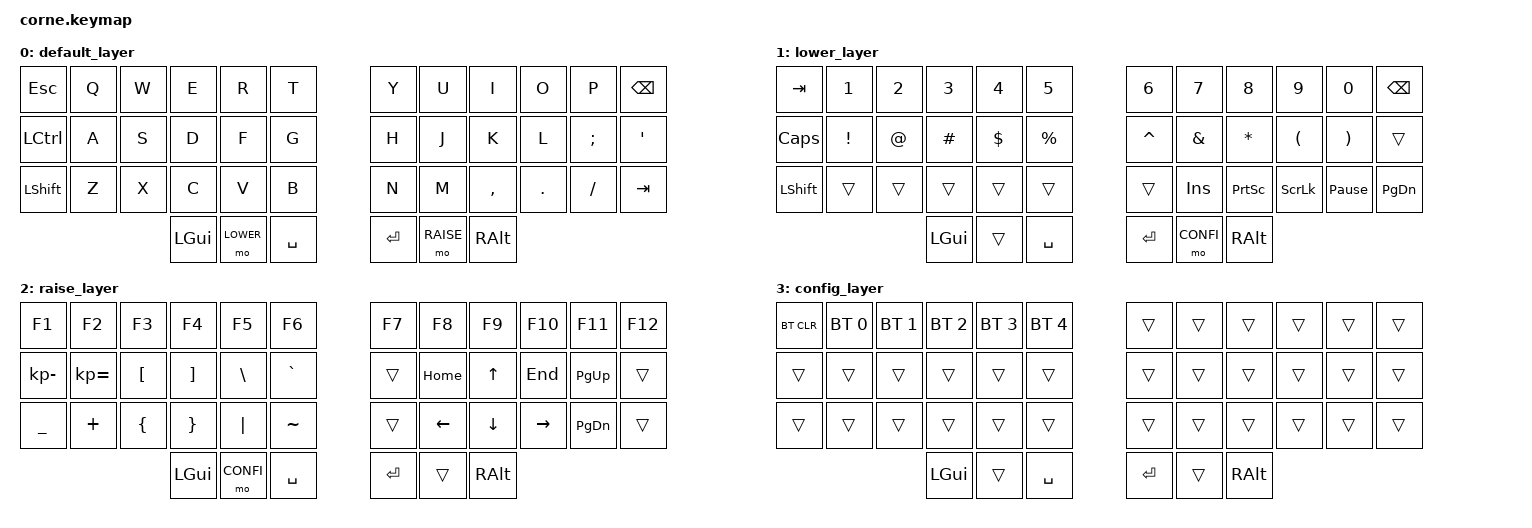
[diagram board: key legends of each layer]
/*
 * Copyright (c) 2020 The ZMK Contributors
 *
 * SPDX-License-Identifier: MIT
 */

#include <behaviors.dtsi>
#include <dt-bindings/zmk/keys.h>
#include <dt-bindings/zmk/bt.h>
#include <dt-bindings/zmk/rgb.h>

&led_strip {
  // chain-length = <0>;
  chain-length = <27>;
  // 21 backlight + 6 glowlight
};

/ {
    chosen {
        zmk,underglow = &led_strip;
    };
};


#define DEFAULT 0
#define LOWER 1
#define RAISE 2
#define CONFI 3

/ {
        keymap {
                compatible = "zmk,keymap";

                default_layer {
// -----------------------------------------------------------------------------------------
// |  ESC |  Q  |  W  |  E  |  R  |  T  |   |  Y  |  U   |  I  |  O  |  P  | BKSP |
// | CTRL |  A  |  S  |  D  |  F  |  G  |   |  H  |  J   |  K  |  L  |  ;  |  '   |
// | SHFT |  Z  |  X  |  C  |  V  |  B  |   |  N  |  M   |  ,  |  .  |  /  | TAB  |
//                    | GUI | LWR | SPC |   | ENT | RSE  | ALT |
                        bindings = <
   &kp ESC   &kp Q &kp W &kp E &kp R &kp T       &kp Y &kp U  &kp I     &kp O   &kp P    &kp BSPC
   &kp LCTRL &kp A &kp S &kp D &kp F &kp G       &kp H &kp J  &kp K     &kp L   &kp SEMI &kp SQT
   &kp LSHFT &kp Z &kp X &kp C &kp V &kp B       &kp N &kp M  &kp COMMA &kp DOT &kp FSLH &kp TAB
                  &kp LGUI &mo LOWER &kp SPACE   &kp RET &mo RAISE &kp RALT
                        >;
                };
                lower_layer {
// -----------------------------------------------------------------------------------------
// |  TAB |  1  |  2  |  3  |  4  |  5  |   |  6  |  7  |  8  |  9  |  0        | BKSP |
// | CAPS |EXCL | AT  | HASH|DLLR |PRCNT|   |CARET|AMPS |ASTRK|LPAR | RPAR      |      |
// | SHFT |     |     |     |     |     |   |     |INS  |PSCRN|SLCK |PAUSE_BREAK| PGDN |
//                    | GUI |     | SPC |   | ENT | CONF| ALT |
                        bindings = <
   &kp TAB    &kp N1       &kp N2       &kp N3       &kp N4       &kp N5         &kp N6    &kp N7    &kp N8    &kp N9    &kp N0          &kp BSPC
   &kp CAPS   &kp EXCL     &kp AT       &kp HASH     &kp DLLR     &kp PRCNT      &kp CARET &kp AMPS  &kp ASTRK &kp LPAR  &kp RPAR        &trans
   &kp LSHFT  &trans       &trans       &trans       &trans       &trans         &trans    &kp INS   &kp PSCRN &kp SLCK  &kp PAUSE_BREAK &kp PG_DN
                                        &kp LGUI     &trans       &kp SPACE      &kp RET   &mo CONFI &kp RALT
                        >;
                };

                raise_layer {
// -----------------------------------------------------------------------------------------
// |  F1 | F2  | F3  | F4  | F5  | F6   |   |  F7 | F8  | F9  | F10 | F11 | F12 |
// |  -  |  =  |  [  |  ]  |  \  |  `   |   |     | HOME| UP  | END |PGUP |     |
// |  _  |  +  |  {  |  }  | "|" |  ~   |   |     | LEFT|DOWN |RIGHT|PGDN |     |
//                    | GUI | CONF| SPC |   | ENT |     | ALT |
                        bindings = <
   &kp F1       &kp F2       &kp F3    &kp F4   &kp F5    &kp F6      &kp F7    &kp F8    &kp F9    &kp F10   &kp F11   &kp F12 
   &kp KP_MINUS &kp KP_EQUAL &kp LBKT  &kp RBKT &kp BSLH  &kp GRAVE   &trans    &kp HOME  &kp UP    &kp END   &kp PG_UP &trans
   &kp UNDER    &kp PLUS     &kp LBRC  &kp RBRC &kp PIPE &kp TILDE    &trans    &kp LEFT  &kp DOWN  &kp RIGHT &kp PG_DN &trans
                                       &kp LGUI &mo CONFI &kp SPACE   &kp RET   &trans    &kp RALT
                        >;
                };

                config_layer {
// -----------------------------------------------------------------------------------------
// | BTCLR| BT1 | BT2 | BT3 | BT4 | BT5 |   |     |     |     |     |     |      |
// |      |     |     |     |     |     |   |     |     |     |     |     |      |
// |      |     |     |     |     |     |   |     |     |     |     |     |      |
//                    | GUI |     | SPC |   | ENT |     | ALT |
                        bindings = <
   &bt BT_CLR &bt BT_SEL 0 &bt BT_SEL 1 &bt BT_SEL 2 &bt BT_SEL 3 &bt BT_SEL 4   &trans   &trans   &trans   &trans    &trans    &trans
   &trans     &trans       &trans       &trans       &trans       &trans         &trans   &trans   &trans   &trans    &trans    &trans
   &trans     &trans       &trans       &trans       &trans       &trans         &trans   &trans &trans &trans &trans   &trans
                                        &kp LGUI     &trans       &kp SPACE      &kp RET  &trans   &kp RALT
                        >;
                };
        };
};
